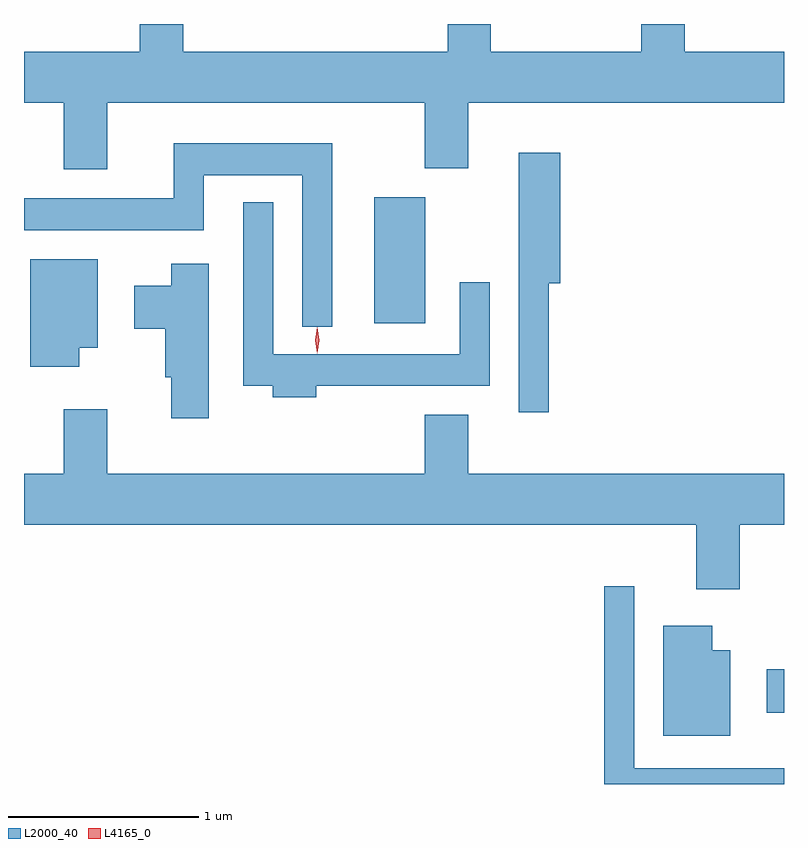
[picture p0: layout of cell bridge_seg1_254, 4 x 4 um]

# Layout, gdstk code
import gdstk
lib = gdstk.Library(unit=1e-6, precision=1e-09)
def R(c, l, rs):  # rectangles x0, y0, x1, y1
    for r in rs: c.add(gdstk.rectangle(r[:2], r[2:], *l))
def P(c, l, *ps):  # polygons
    for p in ps: c.add(gdstk.Polygon(p, *l))
L2000_40 = (2000, 40)
L4165_0 = (4165, 0)

bridge_seg1_254 = lib.new_cell('bridge_seg1_254')
R(bridge_seg1_254, L2000_40, [(960.281,885.266,960.372,885.494), (958.216,887.316,958.484,887.979)])
P(bridge_seg1_254, L2000_40, [(956.809,888.476),(958.481,888.476),(958.481,888.131),(958.709,888.131),(958.709,888.476),(960.372,888.476),(960.372,888.744),(959.849,888.744),(959.849,888.891),(959.621,888.891),(959.621,888.744),(958.829,888.744),(958.829,888.891),(958.601,888.891),(958.601,888.744),(957.209,888.744),(957.209,888.891),(956.981,888.891),(956.981,888.744),(956.372,888.744),(956.372,888.476),(956.581,888.476),(956.581,888.126),(956.809,888.126)],
  [(957.994,888.264),(957.161,888.264),(957.161,887.974),(956.372,887.974),(956.372,887.806),(957.319,887.806),(957.319,888.096),(957.836,888.096),(957.836,887.298),(957.994,887.298)],
  [(959.134,887.526),(959.194,887.526),(959.194,888.214),(958.976,888.214),(958.976,886.848),(959.134,886.848)],
  [(957.909,886.986),(958.824,886.986),(958.824,887.533),(958.666,887.533),(958.666,887.154),(957.684,887.154),(957.684,887.953),(957.526,887.953),(957.526,886.986),(957.681,886.986),(957.681,886.926),(957.909,886.926)],
  [(956.664,887.186),(956.759,887.186),(956.759,887.654),(956.406,887.654),(956.406,887.086),(956.664,887.086)],
  [(957.344,887.629),(957.146,887.629),(957.146,887.514),(956.951,887.514),(956.951,887.286),(957.116,887.286),(957.116,887.031),(957.146,887.031),(957.146,886.816),(957.344,886.816)],
  [(960.139,886.256),(960.372,886.256),(960.372,886.524),(958.709,886.524),(958.709,886.834),(958.481,886.834),(958.481,886.524),(956.809,886.524),(956.809,886.864),(956.581,886.864),(956.581,886.524),(956.372,886.524),(956.372,886.256),(959.911,886.256),(959.911,885.916),(960.139,885.916)],
  [(960.372,884.974),(959.584,884.974),(959.584,885.933),(959.426,885.933),(959.426,884.891),(960.372,884.891)],
  [(960.089,885.594),(959.994,885.594),(959.994,885.724),(959.736,885.724),(959.736,885.146),(960.089,885.146)])
P(bridge_seg1_254, L4165_0, [(957.915,887.157),(957.906,887.227),(957.915,887.296),(957.916,887.296),(957.916,887.296),(957.926,887.227),(957.916,887.157),(957.916,887.157)],
  [(957.916,887.159),(957.915,887.16),(957.906,887.226),(957.915,887.292),(957.916,887.293),(957.916,887.292),(957.926,887.226),(957.916,887.16)])

lib.write_gds('bridge_seg1_254.gds')
